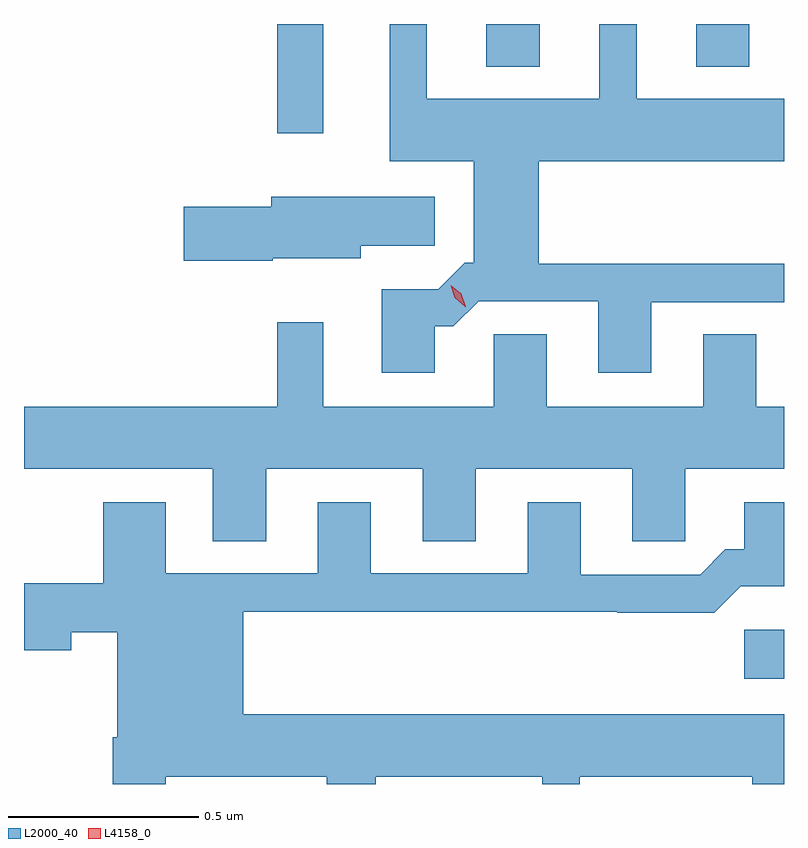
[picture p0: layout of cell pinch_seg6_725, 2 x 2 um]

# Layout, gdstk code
import gdstk
lib = gdstk.Library(unit=1e-6, precision=1e-09)
def R(c, l, rs):  # rectangles x0, y0, x1, y1
    for r in rs: c.add(gdstk.rectangle(r[:2], r[2:], *l))
def P(c, l, *ps):  # polygons
    for p in ps: c.add(gdstk.Polygon(p, *l))
L2000_40 = (2000, 40)
L4158_0 = (4158, 0)

pinch_seg6_725 = lib.new_cell('pinch_seg6_725')
R(pinch_seg6_725, L2000_40, [(424.35,949.448,424.454,949.577), (423.12,950.883,423.241,951.171), (423.671,951.059,423.811,951.171), (424.223,951.059,424.363,951.171)])
P(pinch_seg6_725, L2000_40, [(423.535,950.375),(423.584,950.375),(423.651,950.442),(423.965,950.442),(423.965,950.253),(424.105,950.253),(424.105,950.439),(424.454,950.439),(424.454,950.54),(423.809,950.54),(423.809,950.81),(424.454,950.81),(424.454,950.974),(424.066,950.974),(424.066,951.171),(423.968,951.171),(423.968,950.974),(423.514,950.974),(423.514,951.171),(423.416,951.171),(423.416,950.81),(423.638,950.81),(423.638,950.543),(423.614,950.543),(423.544,950.473),(423.395,950.473),(423.395,950.253),(423.535,950.253)],
  [(423.108,950.555),(423.34,950.555),(423.34,950.587),(423.535,950.587),(423.535,950.716),(423.104,950.716),(423.104,950.69),(422.874,950.69),(422.874,950.548),(423.108,950.548)],
  [(423.091,950),(423.503,950),(423.503,949.81),(423.643,949.81),(423.643,950),(424.055,950),(424.055,949.81),(424.194,949.81),(424.194,950),(424.454,950),(424.454,950.164),(424.381,950.164),(424.381,950.354),(424.241,950.354),(424.241,950.164),(423.829,950.164),(423.829,950.354),(423.69,950.354),(423.69,950.164),(423.241,950.164),(423.241,950.386),(423.12,950.386),(423.12,950.164),(422.454,950.164),(422.454,950),(422.951,950),(422.951,949.81),(423.091,949.81)],
  [(422.827,949.19),(423.251,949.19),(423.251,949.171),(423.379,949.171),(423.379,949.19),(423.818,949.19),(423.818,949.171),(423.916,949.171),(423.916,949.19),(424.37,949.19),(424.37,949.171),(424.454,949.171),(424.454,949.354),(423.031,949.354),(423.031,949.624),(424.015,949.624),(424.015,949.622),(424.271,949.622),(424.34,949.691),(424.454,949.691),(424.454,949.912),(424.349,949.912),(424.349,949.789),(424.3,949.789),(424.233,949.722),(423.919,949.722),(423.919,949.912),(423.779,949.912),(423.779,949.725),(423.367,949.725),(423.367,949.912),(423.227,949.912),(423.227,949.725),(422.827,949.725),(422.827,949.912),(422.663,949.912),(422.663,949.699),(422.454,949.699),(422.454,949.523),(422.578,949.523),(422.578,949.57),(422.699,949.57),(422.699,949.294),(422.687,949.294),(422.687,949.171),(422.827,949.171)])
P(pinch_seg6_725, L4158_0, [(423.615,950.427),(423.588,950.45),(423.577,950.483),(423.577,950.484),(423.577,950.483),(423.604,950.461),(423.616,950.427),(423.616,950.427)])

lib.write_gds('pinch_seg6_725.gds')
